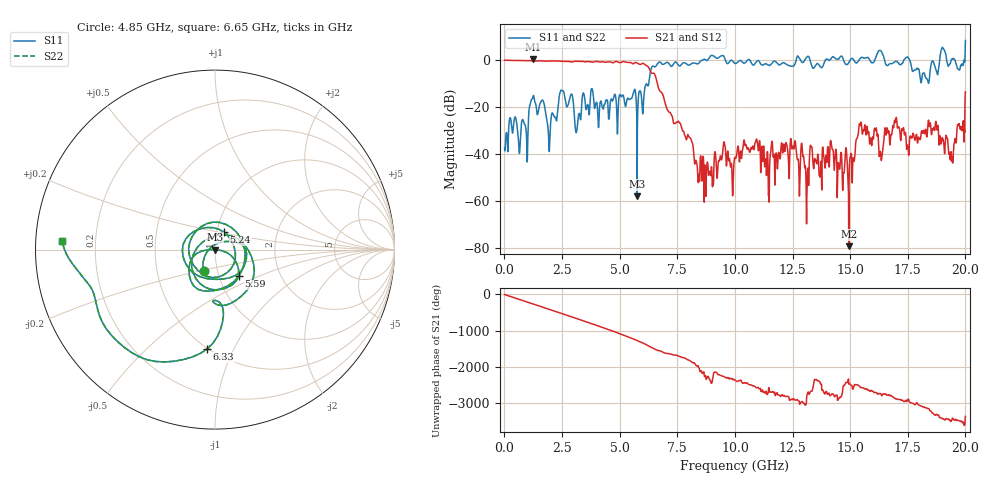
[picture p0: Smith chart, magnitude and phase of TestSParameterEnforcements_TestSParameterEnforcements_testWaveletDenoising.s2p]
# MHz MA S R 50.0
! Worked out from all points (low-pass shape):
!   2000 points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, 10 MHz to 20 GHz, reference 50 ohm
!   highest |S21| = 0.31 dB at 1.25 GHz (marker M1); lowest = -79.0 dB at 14.94 GHz (marker M2)
!   |S21| within 3 dB of the highest: start of sweep to 6.232 GHz
!   lowest |S11| = -57.8 dB at 5.76 GHz (marker M3), VSWR 1.00, Z = 49.9 + j0.0334 ohm
!   |S11| at or under -10 dB: start of sweep to 6.261 GHz
!   |S22| runs from -57.8 to 8.4 dB; largest |S21 - S12| = 5.4e-06
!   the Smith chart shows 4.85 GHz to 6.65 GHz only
!   S11 on the Smith chart (normalised r, x): 4.85 GHz: 0.86, -0.21; 5.24 GHz: 1.08, +0.21; 5.59 GHz: 1.24, -0.38; 6.33 GHz: 0.50, -0.79; 6.65 GHz: 0.08, +0.03
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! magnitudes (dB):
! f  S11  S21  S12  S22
! 10 MHz  -37.4  0.0  0.0  -37.4
! 1.25 GHz  -15.1  0.3  0.3  -15.1
! 1.92 GHz  -32.8  -0.4  -0.4  -32.8
! 2.48 GHz  -12.7  -0.5  -0.5  -12.7
! 3.35 GHz  -19.4  -0.5  -0.5  -19.4
! 4.85 GHz  -17.4  -0.5  -0.5  -17.4
! 5.24 GHz  -19.2  -0.8  -0.8  -19.2
! 5.59 GHz  -14.1  -1.5  -1.5  -14.1
! 5.76 GHz  -57.8  -1.2  -1.2  -57.8
! 6.33 GHz  -5.1  -4.5  -4.5  -5.1
! 6.65 GHz  -1.4  -10.5  -10.5  -1.4
! 6.68 GHz  -1.1  -11.6  -11.6  -1.1
! 8.38 GHz  -1.6  -47.2  -47.2  -1.6
! 10.01 GHz  -1.4  -41.3  -41.3  -1.4
! 13.12 GHz  1.3  -58.9  -58.9  1.3
! 13.34 GHz  -2.6  -36.9  -36.9  -2.6
! 14.94 GHz  -1.1  -79.0  -79.0  -1.1
! 15.42 GHz  0.6  -27.4  -27.4  0.6
! 16.67 GHz  -1.8  -30.1  -30.1  -1.8
! 18.72 GHz  -4.0  -26.0  -26.0  -4.0
! 19.38 GHz  -0.1  -38.9  -38.9  -0.1
! 20 GHz  8.4  -13.5  -13.5  8.4
